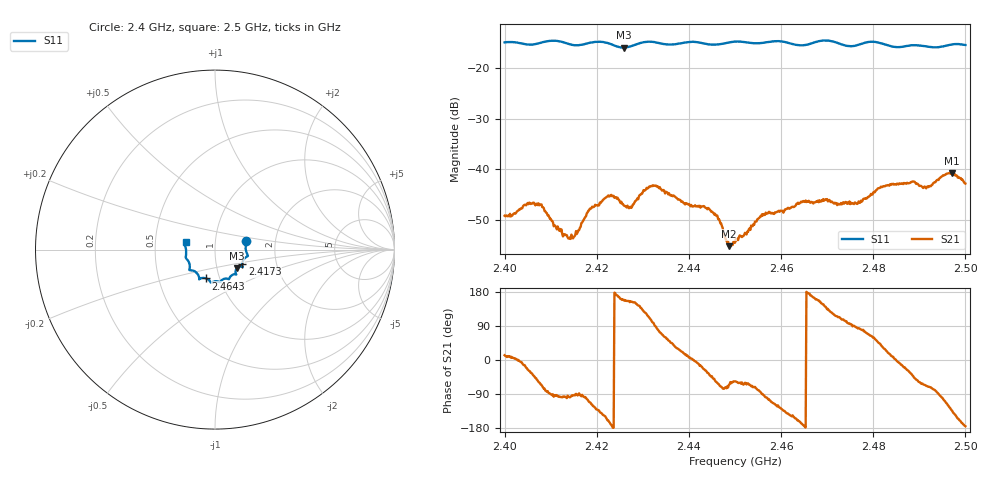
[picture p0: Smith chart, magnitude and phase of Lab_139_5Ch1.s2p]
# Hz S RI R 50
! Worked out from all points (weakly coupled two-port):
!   601 points, 2.4 GHz to 2.5 GHz, reference 50 ohm
!   highest |S21| = -40.70 dB at 2.497 GHz (marker M1); lowest = -55.1 dB at 2.4487 GHz (marker M2)
!   lowest |S11| = -15.9 dB at 2.4258 GHz (marker M3), VSWR 1.38, Z = 62.3 - j13.2 ohm
!   |S11| at or under -10 dB: start of sweep to end of sweep
!   S12 and S22 are empty: the file has one direction only
!   S11 on the Smith chart (normalised r, x): 2.4 GHz: 1.41, +0.14; 2.4173 GHz: 1.34, -0.23; 2.4643 GHz: 0.86, -0.28; 2.5 GHz: 0.72, +0.06
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2.4e9  0.1734 0.0486  0.00341 0.000757  0 0  0 0
2.405833e9  0.1708 0.00374  0.00379 -0.00261  0 0  0 0
2.408e9  0.1779 -0.021  0.00186 -0.00412  0 0  0 0
2.413833e9  0.1677 -0.046  -0.000264 -0.00206  0 0  0 0
2.416667e9  0.1529 -0.0747  -0.000294 -0.00295  0 0  0 0
2.417333e9  0.1521 -0.0822  -0.000473 -0.00325  0 0  0 0
2.422667e9  0.1476 -0.0947  -0.00518 -0.00158  0 0  0 0
2.425833e9  0.1216 -0.1036  -0.0041 0.00169  0 0  0 0
2.427333e9  0.1152 -0.1173  -0.00388 0.00181  0 0  0 0
2.433333e9  0.1129 -0.1372  0.0013 0.00658  0 0  0 0
2.444667e9  0.0579 -0.1613  0.00296 -0.00261  0 0  0 0
2.4465e9  0.0434 -0.1664  0.00142 -0.00292  0 0  0 0
2.448667e9  0.0325 -0.1764  0.000722 -0.00159  0 0  0 0
2.45e9  0.0289 -0.1807  0.00105 -0.00157  0 0  0 0
2.455833e9  -0.00521 -0.1774  8.37e-06 -0.0036  0 0  0 0
2.464333e9  -0.0501 -0.1605  -0.00468 -0.00109  0 0  0 0
2.466667e9  -0.076 -0.1589  -0.00468 0.000969  0 0  0 0
2.476667e9  -0.1229 -0.1168  0.000547 0.00458  0 0  0 0
2.483333e9  -0.1408 -0.0901  0.00667 0.00216  0 0  0 0
2.491833e9  -0.1609 -0.0269  0.00235 -0.0064  0 0  0 0
2.497e9  -0.1693 0.0265  -0.0062 -0.00683  0 0  0 0
2.5e9  -0.1642 0.0421  -0.00723 -0.00066  0 0  0 0
